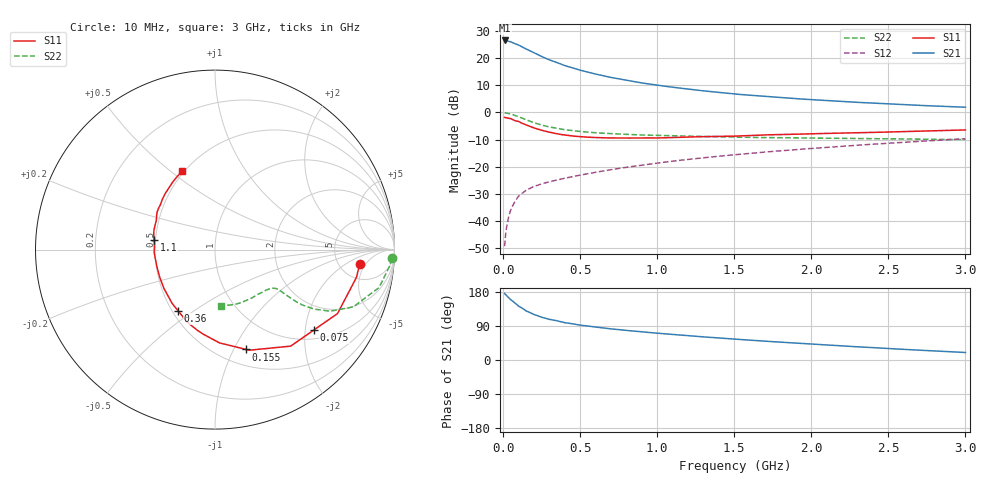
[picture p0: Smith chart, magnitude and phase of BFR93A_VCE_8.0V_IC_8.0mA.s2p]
! Infineon Technologies  Discrete & RF Semiconductors
! BFR93A
! VCE =  8.0 V,  IC =  8.0 mA
! Common Emitter S-Parameters:  Nov 2015
# GHz  S  MA  R  50
!  f  S11  S21  S12  S22
! GHz  MAG  ANG  MAG  ANG  MAG  ANG  MAG  ANG
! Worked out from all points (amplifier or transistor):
!   180 points, 10 MHz to 3 GHz, reference 50 ohm
!   highest |S21| = 26.6 dB at 10 MHz (marker M1)
!   |S21| within 3 dB of that: start of sweep to 145 MHz
!   unconditionally stable (mu >= 1): 656.9 MHz to 2.54 GHz
!   at 160 MHz: K = 0.43, MSG = 25.8 dB, |S12| = -28.4 dB
!   at 1.22 GHz: K = 1.09, MAG = 11.0 dB, |S12| = -17.2 dB
!   at 3 GHz: K = 0.95, MSG = 5.8 dB, |S12| = -9.7 dB
!   S11 on the Smith chart (normalised r, x): 10 MHz: 7.86, -3.62; 75 MHz: 1.24, -2.23; 155 MHz: 0.67, -1.12; 360 MHz: 0.54, -0.44; 1.1 GHz: 0.49, +0.06; 3 GHz: 0.49, +0.55
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0.01  0.8104 -5.6  21.3 175.3  0.0034 86.2  0.9853 -2.8
0.02  0.8033 -11.1  21.12 171.0  0.0068 82.8  0.9774 -5.4
0.05  0.77 -27.6  20.13 158.9  0.016 76.0  0.9383 -13.0
0.075  0.7105 -39.0  18.66 151.2  0.0221 70.0  0.8833 -17.5
0.1  0.6834 -51.9  17.58 142.4  0.0283 66.6  0.8343 -22.5
0.15  0.5922 -71.2  14.84 129.4  0.0366 60.5  0.7286 -28.1
0.155  0.5832 -72.6  14.6 128.6  0.0372 60.2  0.7203 -28.4
0.2  0.5205 -87.2  12.57 120.1  0.043 57.6  0.6465 -30.9
0.24  0.4774 -97.4  11.1 114.4  0.0469 56.5  0.597 -32.0
0.26  0.4607 -102.2  10.46 111.8  0.0488 56.2  0.5757 -32.4
0.3  0.4327 -110.9  9.354 107.3  0.0524 56.0  0.5399 -32.7
0.36  0.3984 -121.0  8.115 102.5  0.0576 56.6  0.5037 -32.6
0.4  0.3833 -128.5  7.328 98.5  0.061 57.0  0.4795 -32.6
0.52  0.3538 -144.9  5.837 91.1  0.0714 58.3  0.4397 -32.3
0.7  0.338 -162.7  4.426 82.1  0.0877 60.4  0.4053 -32.5
0.9  0.3395 -177.3  3.5 74.4  0.1063 61.7  0.3836 -34.1
1.02  0.3387 175.4  3.122 70.1  0.118 61.9  0.3757 -35.4
1.1  0.344 171.1  2.916 67.4  0.126 62.0  0.3704 -36.5
1.52  0.3668 153.0  2.164 54.6  0.1674 61.2  0.3498 -43.9
2.02  0.405 136.7  1.708 41.5  0.2183 58.5  0.3353 -55.2
2.52  0.4365 124.2  1.425 29.9  0.2722 54.6  0.3256 -68.5
3  0.4752 112.5  1.247 19.8  0.327 50.1  0.3158 -84.1
